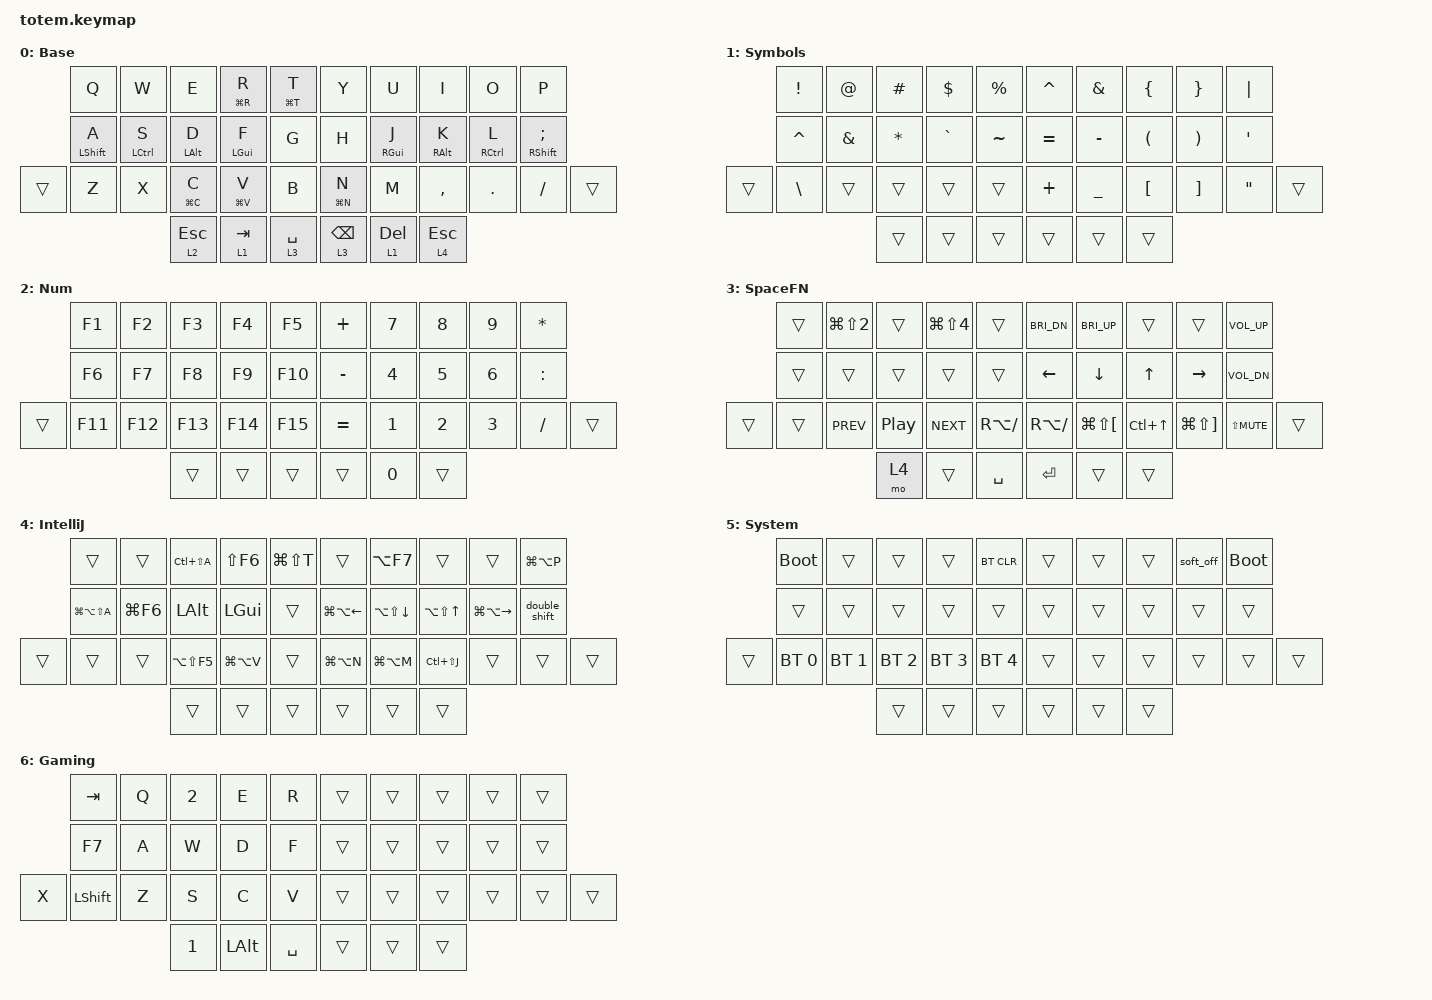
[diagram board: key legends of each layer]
#include <behaviors.dtsi>
#include <dt-bindings/zmk/bt.h>
#include <dt-bindings/zmk/keys.h>

&lt {
    tapping-term-ms = <280>;
    quick-tap-ms = <200>;
    flavor = "hold-preferred";
};

/ {
    combos {
        compatible = "zmk,combos";

        gaming_toggle {
            bindings = <&tog 6>;
            key-positions = <26 27 28>;
        };

        LSys {
            bindings = <&mo 5>;
            key-positions = <32 33 34>;
        };

        RSys {
            bindings = <&mo 5>;
            key-positions = <35 36 37>;
        };

        LIJ {
            bindings = <&mo 4>;
            key-positions = <32 34>;
        };

        RIJ {
            bindings = <&mo 4>;
            key-positions = <35 37>;
        };
    };

    behaviors {
        lp: lp {
            compatible = "zmk,behavior-hold-tap";
            label = "LP";
            bindings = <&kp>, <&kp>;

            #binding-cells = <2>;
            tapping-term-ms = <280>;
            flavor = "tap-preferred";
        };

        hml: hml {
            compatible = "zmk,behavior-hold-tap";
            label = "HML";
            bindings = <&kp>, <&kp>;

            #binding-cells = <2>;
            quick-tap-ms = <200>;
            tapping-term-ms = <280>;
            hold-trigger-key-positions = <5 6 7 8 9 15 16 17 18 19 26 27 28 29 30 31 35 36 37>;
            hold-trigger-on-release;
            flavor = "tap-preferred";
        };

        hmr: hmr {
            compatible = "zmk,behavior-hold-tap";
            label = "HMR";
            bindings = <&kp>, <&kp>;

            #binding-cells = <2>;
            quick-tap-ms = <200>;
            tapping-term-ms = <280>;
            hold-trigger-on-release;
            flavor = "tap-preferred";
            hold-trigger-key-positions = <0 1 2 3 4 10 11 12 13 14 20 21 22 23 24 25 32 33 34>;
        };
    };

    macros {
        double_shift: double_shift {
            compatible = "zmk,behavior-macro";
            #binding-cells = <0>;
            bindings = <&kp LEFT_SHIFT &kp LEFT_SHIFT>;
            label = "DOUBLE_SHIFT";
            wait-ms = <40>;
            tap-ms = <40>;
        };
    };

    keymap {
        compatible = "zmk,keymap";

        base_layer {
            bindings = <
        &kp Q          &kp W         &kp E         &lp LG(R) R  &lp LG(T) T    &kp Y            &kp U         &kp I         &kp O         &kp P
        &hml LSHIFT A  &hml LCTRL S  &hml LALT D   &hml LGUI F  &kp G          &kp H            &hmr RGUI J   &hmr RALT K   &hmr RCTRL L  &hmr RSHFT SEMICOLON
&trans  &kp Z          &kp X         &lp LG(C) C   &lp LG(V) V  &kp B          &lp LG(N) N      &kp M         &kp COMMA     &kp DOT       &kp FSLH              &trans
                                     &lt 2 ESCAPE  &lt 1 TAB    &lt 3 SPACE    &lt 3 BACKSPACE  &lt 1 DELETE  &lt 4 ESCAPE
            >;

            label = "Base";
        };

        sym_layer {
            bindings = <
        &kp EXCL       &kp AT    &kp HASH      &kp DOLLAR  &kp PERCENT    &kp CARET  &kp AMPERSAND  &kp LEFT_BRACE        &kp RIGHT_BRACE        &kp PIPE
        &kp CARET      &kp AMPS  &kp ASTERISK  &kp GRAVE   &kp TILDE      &kp EQUAL  &kp MINUS      &kp LEFT_PARENTHESIS  &kp RIGHT_PARENTHESIS  &kp SINGLE_QUOTE
&trans  &kp BACKSLASH  &trans    &trans        &trans      &trans         &kp PLUS   &kp UNDER      &kp LEFT_BRACKET      &kp RIGHT_BRACKET      &kp DOUBLE_QUOTES  &trans
                                 &trans        &trans      &trans         &trans     &trans         &trans
            >;

            label = "Symbols";
        };

        num_layer {
            bindings = <
        &kp F1   &kp F2   &kp F3   &kp F4   &kp F5     &kp PLUS   &kp N7        &kp N8        &kp N9        &kp STAR
        &kp F6   &kp F7   &kp F8   &kp F9   &kp F10    &kp MINUS  &kp NUMBER_4  &kp N5        &kp NUMBER_6  &kp COLON
&trans  &kp F11  &kp F12  &kp F13  &kp F14  &kp F15    &kp EQUAL  &kp NUMBER_1  &kp NUMBER_2  &kp NUMBER_3  &kp SLASH  &trans
                          &trans   &trans   &trans     &trans     &kp N0        &trans
            >;

            label = "Num";
        };

        sfn_layer {
            bindings = <
        &trans  &kp LG(LS(NUMBER_2))  &trans    &kp LG(LS(NUMBER_4))  &trans           &kp C_BRI_DN   &kp C_BRI_UP              &trans            &trans                     &kp C_VOL_UP
        &trans  &trans                &trans    &trans                &trans           &kp LEFT       &kp DOWN                  &kp UP_ARROW      &kp RIGHT                  &kp C_VOL_DN
&trans  &trans  &kp C_PREV            &kp C_PP  &kp C_NEXT            &kp RA(SLASH)    &kp RA(SLASH)  &kp LG(LS(LEFT_BRACKET))  &kp LC(UP_ARROW)  &kp LG(LS(RIGHT_BRACKET))  &kp LS(C_MUTE)  &trans
                                      &mo 4     &trans                &kp SPACE        &kp ENTER      &trans                    &trans
            >;

            label = "SpaceFN";
        };

        ij_layer {
            bindings = <
        &trans             &trans      &kp LC(LS(A))   &kp LS(F6)     &kp LG(LS(T))    &trans            &kp LA(F7)        &trans          &trans             &kp LG(LA(P))
        &kp LG(LA(LS(A)))  &kp LG(F6)  &kp LALT        &kp LGUI       &trans           &kp LG(LA(LEFT))  &kp LA(LS(DOWN))  &kp LA(LS(UP))  &kp LG(LA(RIGHT))  &double_shift
&trans  &trans             &trans      &kp LA(LS(F5))  &kp LG(LA(V))  &trans           &kp LG(LA(N))     &kp LG(LA(M))     &kp LC(LS(J))   &trans             &trans         &trans
                                       &trans          &trans         &trans           &trans            &trans            &trans
            >;

            label = "IntelliJ";
        };

        sys_layer {
            bindings = <
        &bootloader   &trans        &trans        &trans        &bt BT_CLR      &trans  &trans  &trans  &soft_off  &bootloader
        &trans        &trans        &trans        &trans        &trans          &trans  &trans  &trans  &trans     &trans
&trans  &bt BT_SEL 0  &bt BT_SEL 1  &bt BT_SEL 2  &bt BT_SEL 3  &bt BT_SEL 4    &trans  &trans  &trans  &trans     &trans       &trans
                                    &trans        &trans        &trans          &trans  &trans  &trans
            >;

            label = "System";
        };

        game_layer {
            bindings = <
       &kp TAB    &kp Q  &kp N2        &kp E         &kp R        &trans  &trans  &trans  &trans  &trans
       &kp F7     &kp A  &kp W         &kp D         &kp F        &trans  &trans  &trans  &trans  &trans
&kp X  &kp LSHFT  &kp Z  &kp S         &kp C         &kp V        &trans  &trans  &trans  &trans  &trans  &trans
                         &kp NUMBER_1  &kp LEFT_ALT  &kp SPACE    &trans  &trans  &trans
            >;

            label = "Gaming";
        };
    };
};
